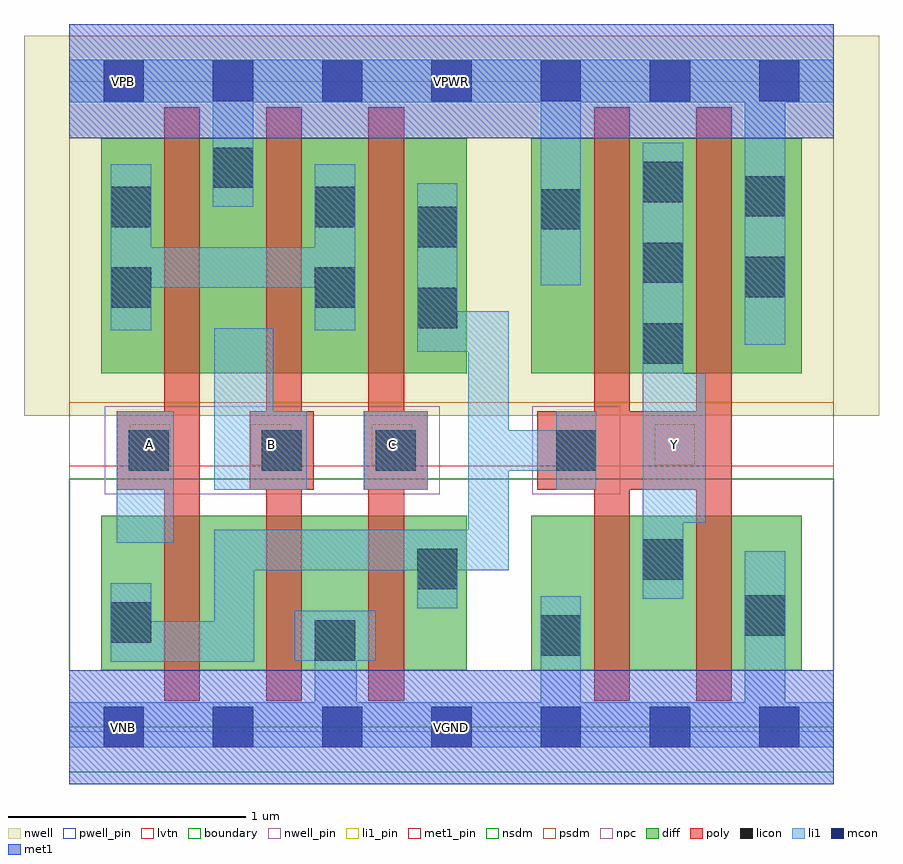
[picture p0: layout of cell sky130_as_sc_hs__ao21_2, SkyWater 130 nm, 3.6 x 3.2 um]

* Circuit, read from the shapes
.subckt sky130_as_sc_hs__ao21_2 A B C VGND VNB VPB VPWR Y
XM1 n1 A n2 VNB sky130_fd_pr__nfet_01v8_lvt w=0.65 l=0.15
XM2 VGND B n1 VNB sky130_fd_pr__nfet_01v8_lvt w=0.65 l=0.15
XM3 n2 C VGND VNB sky130_fd_pr__nfet_01v8_lvt w=0.65 l=0.15
XM4 Y n2 VGND VNB sky130_fd_pr__nfet_01v8_lvt w=0.65 l=0.15 m=2
XM5 VPWR A n3 VPB sky130_fd_pr__pfet_01v8 w=0.99 l=0.15
XM6 n3 B VPWR VPB sky130_fd_pr__pfet_01v8 w=0.99 l=0.15
XM7 n2 C n3 VPB sky130_fd_pr__pfet_01v8 w=0.99 l=0.15
XM8 Y n2 VPWR VPB sky130_fd_pr__pfet_01v8 w=0.99 l=0.15 m=2
.ends

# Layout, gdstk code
import gdstk
lib = gdstk.Library(unit=1e-6, precision=1e-09)
def R(c, l, rs):  # rectangles x0, y0, x1, y1
    for r in rs: c.add(gdstk.rectangle(r[:2], r[2:], *l))
def A(c, l, x, y, w, h, nx, ny, dx, dy):  # array of equal rectangles
    R(c, l, [(x+i*dx, y+j*dy, x+i*dx+w, y+j*dy+h) for i in range(nx) for j in range(ny)])
nwell_pin = (64, 16)
nwell = (64, 20)
diff = (65, 20)
poly = (66, 20)
licon = (66, 44)
li1_pin = (67, 16)
li1 = (67, 20)
mcon = (67, 44)
met1_pin = (68, 16)
met1 = (68, 20)
nsdm = (93, 44)
psdm = (94, 20)
npc = (95, 20)
pwell_pin = (122, 16)
lvtn = (125, 44)
boundary = (235, 4)

sky130_as_sc_hs__ao21_2 = lib.new_cell('sky130_as_sc_hs__ao21_2')
R(sky130_as_sc_hs__ao21_2, nwell_pin, [(0.145,2.635,0.315,2.805)])
R(sky130_as_sc_hs__ao21_2, nwell, [(-0.19,1.31,3.41,2.91)])
R(sky130_as_sc_hs__ao21_2, diff, [(0.135,0.24,1.675,0.89), (1.945,0.24,3.085,0.89), (0.135,1.49,1.675,2.48), (1.945,1.49,3.085,2.48)])
A(sky130_as_sc_hs__ao21_2, poly, 0.4, 0.11, 0.15, 0.89, 3, 1, 0.43, 0)
A(sky130_as_sc_hs__ao21_2, poly, 0.4, 1.33, 0.15, 1.28, 3, 1, 0.43, 0)
R(sky130_as_sc_hs__ao21_2, poly, [(2.21,0.11,2.36,1), (2.64,0.11,2.79,1), (0.2,1,0.55,1.33), (0.76,1,1.03,1.33), (1.24,1,1.51,1.33), (1.97,1,2.79,1.33), (2.21,1.33,2.36,2.61), (2.64,1.33,2.79,2.61)])
A(sky130_as_sc_hs__ao21_2, licon, 2.415, 1.53, 0.17, 0.17, 1, 3, 0, 0.34)
R(sky130_as_sc_hs__ao21_2, licon, [(1.035,0.28,1.205,0.45), (1.985,0.3,2.155,0.47), (0.175,0.355,0.345,0.525), (2.845,0.385,3.015,0.555), (1.465,0.58,1.635,0.75), (2.415,0.62,2.585,0.79), (0.25,1.08,0.42,1.25), (0.81,1.08,0.98,1.25), (1.29,1.08,1.46,1.25), (2.05,1.08,2.22,1.25), (1.465,1.68,1.635,1.85), (0.175,1.765,0.345,1.935), (1.035,1.765,1.205,1.935), (2.845,1.81,3.015,1.98), (1.465,2.02,1.635,2.19), (1.985,2.095,2.155,2.265), (0.175,2.105,0.345,2.275), (1.035,2.105,1.205,2.275), (2.845,2.15,3.015,2.32), (0.605,2.27,0.775,2.44)])
A(sky130_as_sc_hs__ao21_2, li1_pin, 0.255, 1.105, 0.17, 0.17, 3, 1, 0.51, 0)
R(sky130_as_sc_hs__ao21_2, li1_pin, [(2.465,1.105,2.635,1.275)])
R(sky130_as_sc_hs__ao21_2, li1, [(0,-0.085,3.22,0.105), (1.035,0.105,1.21,0.28), (1.985,0.105,2.155,0.55), (2.845,0.105,3.015,0.74), (0.175,0.275,0.78,0.445), (0.95,0.28,1.29,0.49), (0.175,0.445,0.345,0.605), (0.61,0.445,0.78,0.66), (1.465,0.5,1.635,0.66), (2.415,0.54,2.585,0.86), (0.61,0.66,1.85,0.83), (0.2,0.775,0.44,1.33), (1.68,0.83,1.85,1.08), (2.415,0.86,2.68,1.49), (0.61,1,1,1.33), (1.24,1,1.51,1.33), (2.05,1,2.22,1.08), (1.68,1.08,2.22,1.25), (1.68,1.25,1.85,1.58), (2.05,1.25,2.22,1.33), (0.61,1.33,0.86,1.68), (2.415,1.49,2.585,2.46), (1.465,1.58,1.85,1.75), (2.845,1.61,3.015,2.63), (0.175,1.67,0.345,1.85), (1.035,1.67,1.205,1.85), (1.465,1.75,1.635,2.29), (0.175,1.85,1.205,2.02), (1.985,1.86,2.155,2.63), (0.175,2.02,0.345,2.37), (1.035,2.02,1.205,2.37), (0.605,2.19,0.775,2.63), (0,2.63,3.22,2.81)])
A(sky130_as_sc_hs__ao21_2, mcon, 0.145, -0.085, 0.17, 0.17, 7, 2, 0.46, 2.72)
R(sky130_as_sc_hs__ao21_2, met1_pin, [(0,-0.24,3.22,0.24), (0.145,-0.085,0.315,0.085), (0,2.48,3.22,2.96), (0.145,2.635,0.315,2.805)])
R(sky130_as_sc_hs__ao21_2, met1, [(0,-0.24,3.22,0.24), (0,2.48,3.22,2.96)])
R(sky130_as_sc_hs__ao21_2, nsdm, [(0,-0.19,3.22,1.045)])
R(sky130_as_sc_hs__ao21_2, psdm, [(0,1.365,3.22,2.91)])
R(sky130_as_sc_hs__ao21_2, npc, [(0.15,0.98,1.56,1.35), (1.95,0.98,2.32,1.35)])
R(sky130_as_sc_hs__ao21_2, pwell_pin, [(0.145,-0.085,0.315,0.085)])
R(sky130_as_sc_hs__ao21_2, lvtn, [(0,-0.02,3.22,1.1)])
R(sky130_as_sc_hs__ao21_2, boundary, [(0,0,3.22,2.72)])
sky130_as_sc_hs__ao21_2.add(gdstk.Label('VNB', (0.23,0), layer=64, texttype=59))
sky130_as_sc_hs__ao21_2.add(gdstk.Label('VPB', (0.23,2.72), layer=64, texttype=5))
sky130_as_sc_hs__ao21_2.add(gdstk.Label('A', (0.34,1.19), layer=67, texttype=5))
sky130_as_sc_hs__ao21_2.add(gdstk.Label('B', (0.85,1.19), layer=67, texttype=5))
sky130_as_sc_hs__ao21_2.add(gdstk.Label('C', (1.36,1.19), layer=67, texttype=5))
sky130_as_sc_hs__ao21_2.add(gdstk.Label('Y', (2.55,1.19), layer=67, texttype=5))
sky130_as_sc_hs__ao21_2.add(gdstk.Label('VNB', (0.23,0), layer=64, texttype=59))
sky130_as_sc_hs__ao21_2.add(gdstk.Label('VPB', (0.23,2.72), layer=64, texttype=5))
sky130_as_sc_hs__ao21_2.add(gdstk.Label('VPWR', (1.61,2.72), layer=68, texttype=5))
sky130_as_sc_hs__ao21_2.add(gdstk.Label('VPWR', (0.23,2.72), layer=68, texttype=5))
sky130_as_sc_hs__ao21_2.add(gdstk.Label('VGND', (1.61,0), layer=68, texttype=5))
sky130_as_sc_hs__ao21_2.add(gdstk.Label('VGND', (0.23,0), layer=68, texttype=5))
sky130_as_sc_hs__ao21_2.add(gdstk.Label('A', (0.34,1.19), layer=67, texttype=5))
sky130_as_sc_hs__ao21_2.add(gdstk.Label('B', (0.85,1.19), layer=67, texttype=5))
sky130_as_sc_hs__ao21_2.add(gdstk.Label('C', (1.36,1.19), layer=67, texttype=5))
sky130_as_sc_hs__ao21_2.add(gdstk.Label('Y', (2.55,1.19), layer=67, texttype=5))

lib.write_gds('sky130_as_sc_hs__ao21_2.gds')
